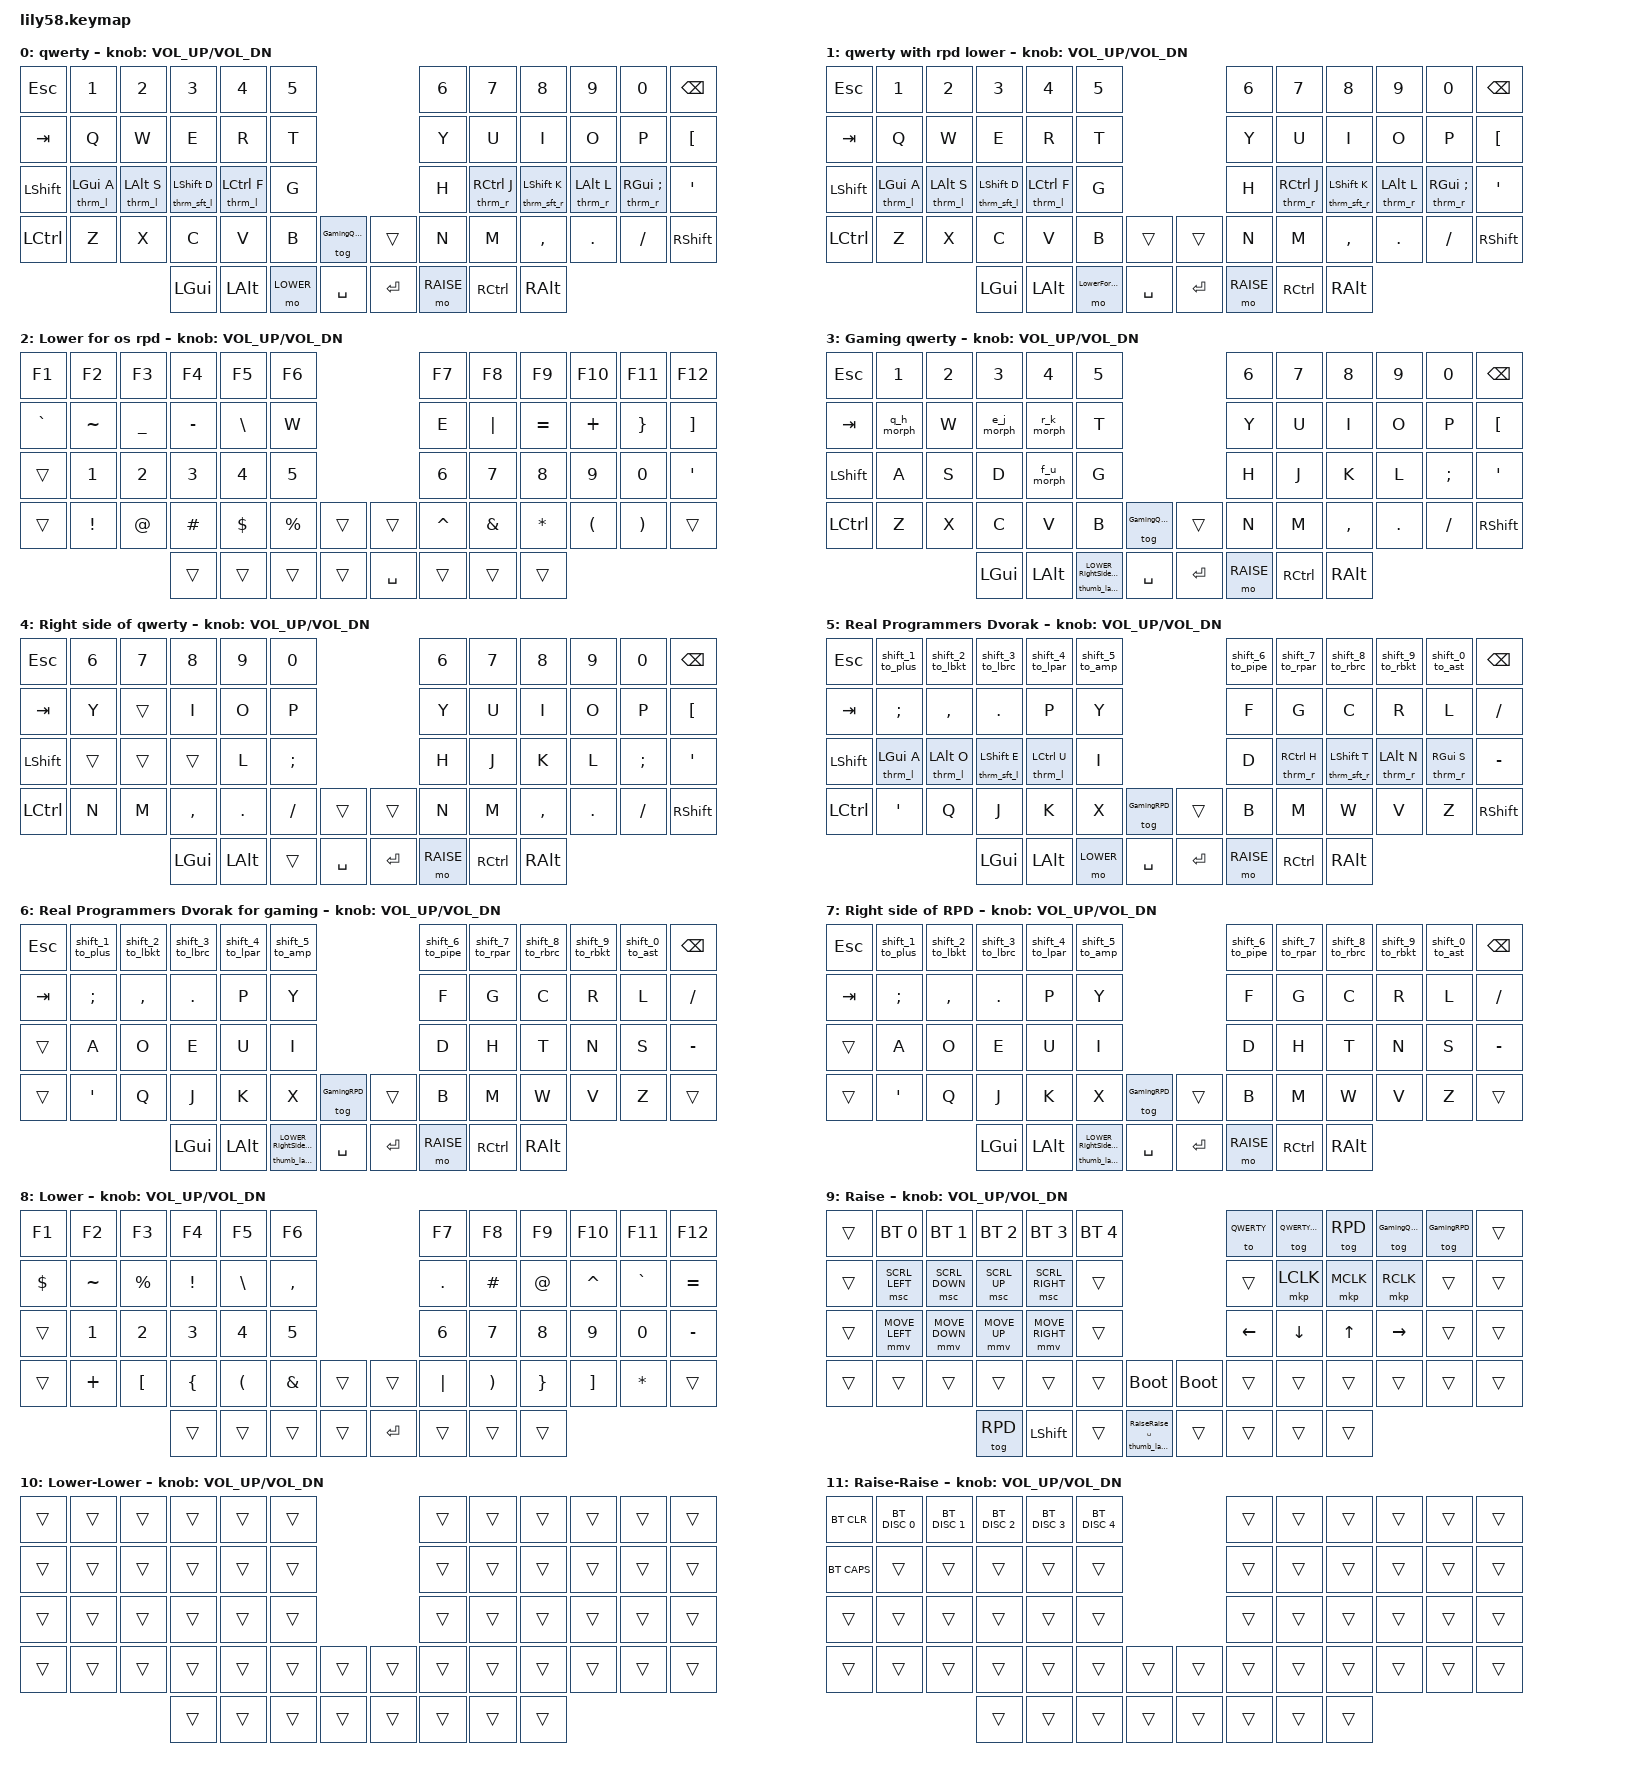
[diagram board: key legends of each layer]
#include <behaviors.dtsi>
#include <dt-bindings/zmk/bt.h>
#include <dt-bindings/zmk/keys.h>

// for mouse configuration
#define ZMK_POINTING_DEFAULT_MOVE_VAL 1250
#define ZMK_POINTING_DEFAULT_SCRL_VAL 20
#include <dt-bindings/zmk/pointing.h>

#include "zmk-helpers/helper.h"

#include "keymaps/constants.dtsi"
#include "keymaps/combos/index.dtsi"
#include "keymaps/behaviours/mod-morphs/index.dtsi"
#include "keymaps/behaviours/mod-morphs/rpd-mod-morphs.dtsi"
#include "keymaps/behaviours/tap-holds/timeless-hrm.dtsi"
#include "keymaps/behaviours/tap-holds/index.dtsi"




/*                                      58 KEY MATRIX / LAYOUT MAPPING

  ╭────────────────────────────┬────────────────────────────╮ ╭─────────────────────────────┬─────────────────────────────╮
  │  0   1   2   3   4   5     │      6   7   8   9  10  11 │ │ LT5 LT4 LT3 LT2 LT1 LT0     │     RT0 RT1 RT2 RT3 RT4 RT5 │
  │ 12  13  14  15  16  17     │     18  19  20  21  22  23 │ │ LM5 LM4 LM3 LM2 LM1 LM0     │     RM0 RM1 RM2 RM3 RM4 RM5 │
  │ 24  25  26  27  28  29     │     30  31  32  33  34  35 │ │ LB5 LB4 LB3 LB2 LB1 LB0     │     RB0 RB1 RB2 RB3 RB4 RB5 │
  │ 36  37  38  39  40  41  42 │ 43  44  45  46  47  48  49 │ │ LF5 LF4 LF3 LF2 LF1 LF0 LEC │ REC RF0 RF1 RF2 RF3 RF4 RF5 │
  ╰───────────╮ 50  51  52  53 │ 54  55  56  57 ╭───────────╯ ╰───────────╮ LH3 LH2 LH1 LH0 │ RH0 RH1 RH2 RH3 ╭───────────╯
              ╰────────────────┴────────────────╯                         ╰─────────────────┴─────────────────╯             */


&sl {
    release-after-ms = <2000>;
};

/ {
    keymap {
        compatible = "zmk,keymap";

        qwerty_layer {
            display-name = "qwerty";
            bindings = <
//    ┌──────┬────────────────┬────────────────┬────────────────────┬────────────────┬──────────┐                            ┌────────────┬────────────────┬────────────────────┬────────────────┬────────────────┬──────┐
//    │ esc  │       1        │       2        │         3          │       4        │    5     │                            │     6      │       7        │         8          │       9        │       0        │ bspc │
//    ├──────┼────────────────┼────────────────┼────────────────────┼────────────────┼──────────┤                            ├────────────┼────────────────┼────────────────────┼────────────────┼────────────────┼──────┤
//    │ tab  │       Q        │       W        │         E          │       R        │    T     │                            │     Y      │       U        │         I          │       O        │       P        │  [   │
//    ├──────┼────────────────┼────────────────┼────────────────────┼────────────────┼──────────┤                            ├────────────┼────────────────┼────────────────────┼────────────────┼────────────────┼──────┤
//    │ lsft │ &thrm_l lgui A │ &thrm_l lalt S │ &thrm_sft_l lsft D │ &thrm_l lctl F │    G     │                            │     H      │ &thrm_r rctl J │ &thrm_sft_r lsft K │ &thrm_r lalt L │ &thrm_r rgui ; │  '   │
//    ├──────┼────────────────┼────────────────┼────────────────────┼────────────────┼──────────┼──────────────────┐   ┌─────┼────────────┼────────────────┼────────────────────┼────────────────┼────────────────┼──────┤
//    │ lctl │       Z        │       X        │         C          │       V        │    B     │ tog GamingQWERTY │   │     │     N      │       M        │         ,          │       .        │       /        │ rsft │
//    └──────┴────────────────┴────────────────┼────────────────────┼────────────────┼──────────┼──────────────────┤   ├─────┼────────────┼────────────────┼────────────────────┼────────────────┴────────────────┴──────┘
//                                             │        lgui        │      lalt      │ mo LOWER │       spc        │   │ ent │ mo raltISE │      rctl      │        ralt        │
//                                             └────────────────────┴────────────────┴──────────┴──────────────────┘   └─────┴────────────┴────────────────┴────────────────────┘
  &kp ESC     &kp N1           &kp N2           &kp N3                &kp N4            &kp N5                                        &kp N6      &kp N7            &kp N8                &kp N9           &kp N0              &kp BSPC
  &kp TAB     &kp Q            &kp W            &kp E                 &kp R             &kp T                                         &kp Y       &kp U             &kp I                 &kp O            &kp P               &kp LEFT_BRACKET
  &kp LSHFT   &thrm_l LGUI A   &thrm_l LALT S   &thrm_sft_l LSHFT D   &thrm_l LCTRL F   &kp G                                         &kp H       &thrm_r RCTRL J   &thrm_sft_r LSHFT K   &thrm_r LALT L   &thrm_r RGUI SEMI   &kp SQT
  &kp LCTRL   &kp Z            &kp X            &kp C                 &kp V             &kp B       &tog GamingQWERTY       &trans    &kp N       &kp M             &kp COMMA             &kp DOT          &kp FSLH            &kp RSHFT
                                                &kp LGUI              &kp LALT          &mo LOWER   &kp SPACE               &kp RET   &mo RAISE   &kp RCTRL         &kp RALT
            >;

            sensor-bindings = <&inc_dec_kp C_VOL_UP C_VOL_DN>;
      };

        qwerty_with_rpd_lower {
            // same as qwerty but with lower_qwerty_to_rpd lower layer
            // only used with system rpd remap
            display-name = "qwerty with rpd lower";
            bindings = <
//    ┌──────┬────────────────┬────────────────┬────────────────────┬────────────────┬──────────────────┐               ┌────────────┬────────────────┬────────────────────┬────────────────┬────────────────┬──────┐
//    │ esc  │       1        │       2        │         3          │       4        │        5         │               │     6      │       7        │         8          │       9        │       0        │ bspc │
//    ├──────┼────────────────┼────────────────┼────────────────────┼────────────────┼──────────────────┤               ├────────────┼────────────────┼────────────────────┼────────────────┼────────────────┼──────┤
//    │ tab  │       Q        │       W        │         E          │       R        │        T         │               │     Y      │       U        │         I          │       O        │       P        │  [   │
//    ├──────┼────────────────┼────────────────┼────────────────────┼────────────────┼──────────────────┤               ├────────────┼────────────────┼────────────────────┼────────────────┼────────────────┼──────┤
//    │ lsft │ &thrm_l lgui A │ &thrm_l lalt S │ &thrm_sft_l lsft D │ &thrm_l lctl F │        G         │               │     H      │ &thrm_r rctl J │ &thrm_sft_r lsft K │ &thrm_r lalt L │ &thrm_r rgui ; │  '   │
//    ├──────┼────────────────┼────────────────┼────────────────────┼────────────────┼──────────────────┼─────┐   ┌─────┼────────────┼────────────────┼────────────────────┼────────────────┼────────────────┼──────┤
//    │ lctl │       Z        │       X        │         C          │       V        │        B         │     │   │     │     N      │       M        │         ,          │       .        │       /        │ rsft │
//    └──────┴────────────────┴────────────────┼────────────────────┼────────────────┼──────────────────┼─────┤   ├─────┼────────────┼────────────────┼────────────────────┼────────────────┴────────────────┴──────┘
//                                             │        lgui        │      lalt      │ mo LowerForOsRpd │ spc │   │ ent │ mo raltISE │      rctl      │        ralt        │
//                                             └────────────────────┴────────────────┴──────────────────┴─────┘   └─────┴────────────┴────────────────┴────────────────────┘
  &kp ESC     &kp N1           &kp N2           &kp N3                &kp N4            &kp N5                                        &kp N6      &kp N7            &kp N8                &kp N9           &kp N0              &kp BSPC
  &kp TAB     &kp Q            &kp W            &kp E                 &kp R             &kp T                                         &kp Y       &kp U             &kp I                 &kp O            &kp P               &kp LEFT_BRACKET
  &kp LSHFT   &thrm_l LGUI A   &thrm_l LALT S   &thrm_sft_l LSHFT D   &thrm_l LCTRL F   &kp G                                         &kp H       &thrm_r RCTRL J   &thrm_sft_r LSHFT K   &thrm_r LALT L   &thrm_r RGUI SEMI   &kp SQT
  &kp LCTRL   &kp Z            &kp X            &kp C                 &kp V             &kp B               &trans          &trans    &kp N       &kp M             &kp COMMA             &kp DOT          &kp FSLH            &kp RSHFT
                                                &kp LGUI              &kp LALT          &mo LowerForOsRpd   &kp SPACE       &kp RET   &mo RAISE   &kp RCTRL         &kp RALT
            >;

            sensor-bindings = <&inc_dec_kp C_VOL_UP C_VOL_DN>;
      };

        lower_for_os_rpd {
            // {this layer only exists to be remaped into a regular LOWER by systems rpd layout
            display-name = "Lower for os rpd";
            bindings = <
//    ┌─────┬────┬────┬─────┬─────┬─────┐               ┌─────┬─────┬─────┬─────┬─────┬─────┐
//    │ f1  │ f2 │ f3 │ f4  │ f5  │ f6  │               │ f7  │ f8  │ f9  │ f10 │ f11 │ f12 │
//    ├─────┼────┼────┼─────┼─────┼─────┤               ├─────┼─────┼─────┼─────┼─────┼─────┤
//    │  `  │ ~  │ _  │  -  │  \  │  W  │               │  E  │  |  │  =  │  +  │  }  │  ]  │
//    ├─────┼────┼────┼─────┼─────┼─────┤               ├─────┼─────┼─────┼─────┼─────┼─────┤
//    │     │ 1  │ 2  │  3  │  4  │  5  │               │  6  │  7  │  8  │  9  │  0  │  '  │
//    ├─────┼────┼────┼─────┼─────┼─────┼─────┐   ┌─────┼─────┼─────┼─────┼─────┼─────┼─────┤
//    │     │ !  │ @  │  #  │  $  │  %  │     │   │     │  ^  │  &  │  *  │  (  │  )  │     │
//    └─────┴────┴────┼─────┼─────┼─────┼─────┤   ├─────┼─────┼─────┼─────┼─────┴─────┴─────┘
//                    │     │     │     │     │   │ spc │     │     │     │
//                    └─────┴─────┴─────┴─────┘   └─────┴─────┴─────┴─────┘
  &kp F1      &kp F2      &kp F3      &kp F4      &kp F5       &kp F6                                 &kp F7      &kp F8     &kp F9      &kp F10    &kp F11    &kp F12
  &kp GRAVE   &kp TILDE   &kp UNDER   &kp MINUS   &kp BSLH     &kp W                                  &kp E       &kp PIPE   &kp EQUAL   &kp PLUS   &kp RBRC   &kp RBKT
  &trans      &kp N1      &kp N2      &kp N3      &kp N4       &kp N5                                 &kp N6      &kp N7     &kp N8      &kp N9     &kp N0     &kp SQT
  &trans      &kp EXCL    &kp AT      &kp HASH    &kp DOLLAR   &kp PERCENT   &trans       &trans      &kp CARET   &kp AMPS   &kp STAR    &kp LPAR   &kp RPAR   &trans
                                      &trans      &trans       &trans        &trans       &kp SPACE   &trans      &trans     &trans
            >;
                
            sensor-bindings = <&inc_dec_kp C_VOL_UP C_VOL_DN>;
        };

        qwerty_gaming_layer {
            display-name = "Gaming qwerty";
            bindings = <
//    ┌──────┬────────────┬───┬────────────┬────────────┬───────────────────────────────────────────┐                            ┌────────────┬──────┬──────┬───┬───┬──────┐
//    │ esc  │     1      │ 2 │     3      │     4      │                     5                     │                            │     6      │  7   │  8   │ 9 │ 0 │ bspc │
//    ├──────┼────────────┼───┼────────────┼────────────┼───────────────────────────────────────────┤                            ├────────────┼──────┼──────┼───┼───┼──────┤
//    │ tab  │ &q_h_morph │ W │ &e_j_morph │ &r_k_morph │                     T                     │                            │     Y      │  U   │  I   │ O │ P │  [   │
//    ├──────┼────────────┼───┼────────────┼────────────┼───────────────────────────────────────────┤                            ├────────────┼──────┼──────┼───┼───┼──────┤
//    │ lsft │     A      │ S │     D      │ &f_u_morph │                     G                     │                            │     H      │  J   │  K   │ L │ ; │  '   │
//    ├──────┼────────────┼───┼────────────┼────────────┼───────────────────────────────────────────┼──────────────────┐   ┌─────┼────────────┼──────┼──────┼───┼───┼──────┤
//    │ lctl │     Z      │ X │     C      │     V      │                     B                     │ tog GamingQWERTY │   │     │     N      │  M   │  ,   │ . │ / │ rsft │
//    └──────┴────────────┴───┼────────────┼────────────┼───────────────────────────────────────────┼──────────────────┤   ├─────┼────────────┼──────┼──────┼───┴───┴──────┘
//                            │    lgui    │    lalt    │ &thumb_layer_sticky LOWER RightSideQWERTY │       spc        │   │ ent │ mo raltISE │ rctl │ ralt │
//                            └────────────┴────────────┴───────────────────────────────────────────┴──────────────────┘   └─────┴────────────┴──────┴──────┘
  &kp ESC     &kp N1       &kp N2   &kp N3       &kp N4       &kp N5                                                                        &kp N6      &kp N7      &kp N8      &kp N9    &kp N0     &kp BSPC
  &kp TAB     &q_h_morph   &kp W    &e_j_morph   &r_k_morph   &kp T                                                                         &kp Y       &kp U       &kp I       &kp O     &kp P      &kp LEFT_BRACKET
  &kp LSHFT   &kp A        &kp S    &kp D        &f_u_morph   &kp G                                                                         &kp H       &kp J       &kp K       &kp L     &kp SEMI   &kp SQT
  &kp LCTRL   &kp Z        &kp X    &kp C        &kp V        &kp B                                       &tog GamingQWERTY       &trans    &kp N       &kp M       &kp COMMA   &kp DOT   &kp FSLH   &kp RSHFT
                                    &kp LGUI     &kp LALT     &thumb_layer_sticky LOWER RightSideQWERTY   &kp SPACE               &kp RET   &mo RAISE   &kp RCTRL   &kp RALT
            >;

            sensor-bindings = <&inc_dec_kp C_VOL_UP C_VOL_DN>;
      };

        right_side_qwerty {
            display-name = "Right side of qwerty";
            bindings = <
//    ┌──────┬─────┬─────┬──────┬──────┬─────┐               ┌────────────┬──────┬──────┬───┬───┬──────┐
//    │ esc  │  6  │  7  │  8   │  9   │  0  │               │     6      │  7   │  8   │ 9 │ 0 │ bspc │
//    ├──────┼─────┼─────┼──────┼──────┼─────┤               ├────────────┼──────┼──────┼───┼───┼──────┤
//    │ tab  │  Y  │     │  I   │  O   │  P  │               │     Y      │  U   │  I   │ O │ P │  [   │
//    ├──────┼─────┼─────┼──────┼──────┼─────┤               ├────────────┼──────┼──────┼───┼───┼──────┤
//    │ lsft │     │     │      │  L   │  ;  │               │     H      │  J   │  K   │ L │ ; │  '   │
//    ├──────┼─────┼─────┼──────┼──────┼─────┼─────┐   ┌─────┼────────────┼──────┼──────┼───┼───┼──────┤
//    │ lctl │  N  │  M  │  ,   │  .   │  /  │     │   │     │     N      │  M   │  ,   │ . │ / │ rsft │
//    └──────┴─────┴─────┼──────┼──────┼─────┼─────┤   ├─────┼────────────┼──────┼──────┼───┴───┴──────┘
//                       │ lgui │ lalt │     │ spc │   │ ent │ mo raltISE │ rctl │ ralt │
//                       └──────┴──────┴─────┴─────┘   └─────┴────────────┴──────┴──────┘
  &kp ESC     &kp N6   &kp N7   &kp N8      &kp N9       &kp N0                               &kp N6      &kp N7      &kp N8      &kp N9    &kp N0     &kp BSPC
  &kp TAB     &kp Y    &trans   &kp I       &kp O        &kp P                                &kp Y       &kp U       &kp I       &kp O     &kp P      &kp LEFT_BRACKET
  &kp LSHFT   &trans   &trans   &trans      &kp L        &kp SEMI                             &kp H       &kp J       &kp K       &kp L     &kp SEMI   &kp SQT
  &kp LCTRL   &kp N    &kp M    &kp COMMA   &kp PERIOD   &kp FSLH   &trans          &trans    &kp N       &kp M       &kp COMMA   &kp DOT   &kp FSLH   &kp RSHFT
                                &kp LGUI    &kp LALT     &trans     &kp SPACE       &kp RET   &mo RAISE   &kp RCTRL   &kp RALT
            >;

            sensor-bindings = <&inc_dec_kp C_VOL_UP C_VOL_DN>;
      };

        rpd_layer {
            display-name = "Real Programmers Dvorak";
            bindings = <
//    ┌──────┬──────────────────┬──────────────────┬────────────────────┬──────────────────┬─────────────────┐                         ┌──────────────────┬──────────────────┬────────────────────┬──────────────────┬─────────────────┬──────┐
//    │ esc  │ &shift_1_to_plus │ &shift_2_to_lbkt │  &shift_3_to_lbrc  │ &shift_4_to_lpar │ &shift_5_to_amp │                         │ &shift_6_to_pipe │ &shift_7_to_rpar │  &shift_8_to_rbrc  │ &shift_9_to_rbkt │ &shift_0_to_ast │ bspc │
//    ├──────┼──────────────────┼──────────────────┼────────────────────┼──────────────────┼─────────────────┤                         ├──────────────────┼──────────────────┼────────────────────┼──────────────────┼─────────────────┼──────┤
//    │ tab  │        ;         │        ,         │         .          │        P         │        Y        │                         │        F         │        G         │         C          │        R         │        L        │  /   │
//    ├──────┼──────────────────┼──────────────────┼────────────────────┼──────────────────┼─────────────────┤                         ├──────────────────┼──────────────────┼────────────────────┼──────────────────┼─────────────────┼──────┤
//    │ lsft │  &thrm_l lgui A  │  &thrm_l lalt O  │ &thrm_sft_l lsft E │  &thrm_l lctl U  │        I        │                         │        D         │  &thrm_r rctl H  │ &thrm_sft_r lsft T │  &thrm_r lalt N  │ &thrm_r rgui S  │  -   │
//    ├──────┼──────────────────┼──────────────────┼────────────────────┼──────────────────┼─────────────────┼───────────────┐   ┌─────┼──────────────────┼──────────────────┼────────────────────┼──────────────────┼─────────────────┼──────┤
//    │ lctl │        '         │        Q         │         J          │        K         │        X        │ tog GamingRPD │   │     │        B         │        M         │         W          │        V         │        Z        │ rsft │
//    └──────┴──────────────────┴──────────────────┼────────────────────┼──────────────────┼─────────────────┼───────────────┤   ├─────┼──────────────────┼──────────────────┼────────────────────┼──────────────────┴─────────────────┴──────┘
//                                                 │        lgui        │       lalt       │    mo LOWER     │      spc      │   │ ent │    mo raltISE    │       rctl       │        ralt        │
//                                                 └────────────────────┴──────────────────┴─────────────────┴───────────────┘   └─────┴──────────────────┴──────────────────┴────────────────────┘
  &kp ESC     &shift_1_to_plus   &shift_2_to_lbkt   &shift_3_to_lbrc      &shift_4_to_lpar   &shift_5_to_amp                                  &shift_6_to_pipe   &shift_7_to_rpar   &shift_8_to_rbrc      &shift_9_to_rbkt   &shift_0_to_ast   &kp BSPC
  &kp TAB     &kp SEMICOLON      &kp COMMA          &kp PERIOD            &kp P              &kp Y                                            &kp F              &kp G              &kp C                 &kp R              &kp L             &kp SLASH
  &kp LSHFT   &thrm_l LGUI A     &thrm_l LALT O     &thrm_sft_l LSHFT E   &thrm_l LCTRL U    &kp I                                            &kp D              &thrm_r RCTRL H    &thrm_sft_r LSHFT T   &thrm_r LALT N     &thrm_r RGUI S    &kp MINUS
  &kp LCTRL   &kp SQT            &kp Q              &kp J                 &kp K              &kp X             &tog GamingRPD       &trans    &kp B              &kp M              &kp W                 &kp V              &kp Z             &kp RSHFT
                                                    &kp LGUI              &kp LALT           &mo LOWER         &kp SPACE            &kp RET   &mo RAISE          &kp RCTRL          &kp RALT
            >;

            sensor-bindings = <&inc_dec_kp C_VOL_UP C_VOL_DN>;
        };

        rpd_gaming_layer {
            display-name = "Real Programmers Dvorak for gaming";
            bindings = <
//    ┌─────┬──────────────────┬──────────────────┬──────────────────┬──────────────────┬────────────────────────────────────────┐                         ┌──────────────────┬──────────────────┬──────────────────┬──────────────────┬─────────────────┬──────┐
//    │ esc │ &shift_1_to_plus │ &shift_2_to_lbkt │ &shift_3_to_lbrc │ &shift_4_to_lpar │            &shift_5_to_amp             │                         │ &shift_6_to_pipe │ &shift_7_to_rpar │ &shift_8_to_rbrc │ &shift_9_to_rbkt │ &shift_0_to_ast │ bspc │
//    ├─────┼──────────────────┼──────────────────┼──────────────────┼──────────────────┼────────────────────────────────────────┤                         ├──────────────────┼──────────────────┼──────────────────┼──────────────────┼─────────────────┼──────┤
//    │ tab │        ;         │        ,         │        .         │        P         │                   Y                    │                         │        F         │        G         │        C         │        R         │        L        │  /   │
//    ├─────┼──────────────────┼──────────────────┼──────────────────┼──────────────────┼────────────────────────────────────────┤                         ├──────────────────┼──────────────────┼──────────────────┼──────────────────┼─────────────────┼──────┤
//    │     │        A         │        O         │        E         │        U         │                   I                    │                         │        D         │        H         │        T         │        N         │        S        │  -   │
//    ├─────┼──────────────────┼──────────────────┼──────────────────┼──────────────────┼────────────────────────────────────────┼───────────────┐   ┌─────┼──────────────────┼──────────────────┼──────────────────┼──────────────────┼─────────────────┼──────┤
//    │     │        '         │        Q         │        J         │        K         │                   X                    │ tog GamingRPD │   │     │        B         │        M         │        W         │        V         │        Z        │      │
//    └─────┴──────────────────┴──────────────────┼──────────────────┼──────────────────┼────────────────────────────────────────┼───────────────┤   ├─────┼──────────────────┼──────────────────┼──────────────────┼──────────────────┴─────────────────┴──────┘
//                                                │       lgui       │       lalt       │ &thumb_layer_sticky LOWER RightSideRPD │      spc      │   │ ent │    mo raltISE    │       rctl       │       ralt       │
//                                                └──────────────────┴──────────────────┴────────────────────────────────────────┴───────────────┘   └─────┴──────────────────┴──────────────────┴──────────────────┘
  &kp ESC   &shift_1_to_plus   &shift_2_to_lbkt   &shift_3_to_lbrc   &shift_4_to_lpar   &shift_5_to_amp                                                         &shift_6_to_pipe   &shift_7_to_rpar   &shift_8_to_rbrc   &shift_9_to_rbkt   &shift_0_to_ast   &kp BSPC
  &kp TAB   &kp SEMICOLON      &kp COMMA          &kp PERIOD         &kp P              &kp Y                                                                   &kp F              &kp G              &kp C              &kp R              &kp L             &kp SLASH
  &trans    &kp A              &kp O              &kp E              &kp U              &kp I                                                                   &kp D              &kp H              &kp T              &kp N              &kp S             &kp MINUS
  &trans    &kp SQT            &kp Q              &kp J              &kp K              &kp X                                    &tog GamingRPD       &trans    &kp B              &kp M              &kp W              &kp V              &kp Z             &trans
                                                  &kp LGUI           &kp LALT           &thumb_layer_sticky LOWER RightSideRPD   &kp SPACE            &kp RET   &mo RAISE          &kp RCTRL          &kp RALT
            >;

            sensor-bindings = <&inc_dec_kp C_VOL_UP C_VOL_DN>;
        };

        right_side_rpd {
            display-name = "Right side of RPD";
            bindings = <
//    ┌─────┬──────────────────┬──────────────────┬──────────────────┬──────────────────┬─────────────────────────────────────┐                         ┌──────────────────┬──────────────────┬──────────────────┬──────────────────┬─────────────────┬──────┐
//    │ esc │ &shift_1_to_plus │ &shift_2_to_lbkt │ &shift_3_to_lbrc │ &shift_4_to_lpar │           &shift_5_to_amp           │                         │ &shift_6_to_pipe │ &shift_7_to_rpar │ &shift_8_to_rbrc │ &shift_9_to_rbkt │ &shift_0_to_ast │ bspc │
//    ├─────┼──────────────────┼──────────────────┼──────────────────┼──────────────────┼─────────────────────────────────────┤                         ├──────────────────┼──────────────────┼──────────────────┼──────────────────┼─────────────────┼──────┤
//    │ tab │        ;         │        ,         │        .         │        P         │                  Y                  │                         │        F         │        G         │        C         │        R         │        L        │  /   │
//    ├─────┼──────────────────┼──────────────────┼──────────────────┼──────────────────┼─────────────────────────────────────┤                         ├──────────────────┼──────────────────┼──────────────────┼──────────────────┼─────────────────┼──────┤
//    │     │        A         │        O         │        E         │        U         │                  I                  │                         │        D         │        H         │        T         │        N         │        S        │  -   │
//    ├─────┼──────────────────┼──────────────────┼──────────────────┼──────────────────┼─────────────────────────────────────┼───────────────┐   ┌─────┼──────────────────┼──────────────────┼──────────────────┼──────────────────┼─────────────────┼──────┤
//    │     │        '         │        Q         │        J         │        K         │                  X                  │ tog GamingRPD │   │     │        B         │        M         │        W         │        V         │        Z        │      │
//    └─────┴──────────────────┴──────────────────┼──────────────────┼──────────────────┼─────────────────────────────────────┼───────────────┤   ├─────┼──────────────────┼──────────────────┼──────────────────┼──────────────────┴─────────────────┴──────┘
//                                                │       lgui       │       lalt       │ &thumb_layer_tog LOWER RightSideRPD │      spc      │   │ ent │    mo raltISE    │       rctl       │       ralt       │
//                                                └──────────────────┴──────────────────┴─────────────────────────────────────┴───────────────┘   └─────┴──────────────────┴──────────────────┴──────────────────┘
  &kp ESC   &shift_1_to_plus   &shift_2_to_lbkt   &shift_3_to_lbrc   &shift_4_to_lpar   &shift_5_to_amp                                                      &shift_6_to_pipe   &shift_7_to_rpar   &shift_8_to_rbrc   &shift_9_to_rbkt   &shift_0_to_ast   &kp BSPC
  &kp TAB   &kp SEMICOLON      &kp COMMA          &kp PERIOD         &kp P              &kp Y                                                                &kp F              &kp G              &kp C              &kp R              &kp L             &kp SLASH
  &trans    &kp A              &kp O              &kp E              &kp U              &kp I                                                                &kp D              &kp H              &kp T              &kp N              &kp S             &kp MINUS
  &trans    &kp SQT            &kp Q              &kp J              &kp K              &kp X                                 &tog GamingRPD       &trans    &kp B              &kp M              &kp W              &kp V              &kp Z             &trans
                                                  &kp LGUI           &kp LALT           &thumb_layer_tog LOWER RightSideRPD   &kp SPACE            &kp RET   &mo RAISE          &kp RCTRL          &kp RALT
            >;

            sensor-bindings = <&inc_dec_kp C_VOL_UP C_VOL_DN>;
        };

        lower_layer {
            display-name = "Lower";
            bindings = <
//    ┌─────┬────┬────┬─────┬─────┬─────┐               ┌─────┬─────┬─────┬─────┬─────┬─────┐
//    │ f1  │ f2 │ f3 │ f4  │ f5  │ f6  │               │ f7  │ f8  │ f9  │ f10 │ f11 │ f12 │
//    ├─────┼────┼────┼─────┼─────┼─────┤               ├─────┼─────┼─────┼─────┼─────┼─────┤
//    │  $  │ ~  │ %  │  !  │  \  │  ,  │               │  .  │  #  │  @  │  ^  │  `  │  =  │
//    ├─────┼────┼────┼─────┼─────┼─────┤               ├─────┼─────┼─────┼─────┼─────┼─────┤
//    │     │ 1  │ 2  │  3  │  4  │  5  │               │  6  │  7  │  8  │  9  │  0  │  -  │
//    ├─────┼────┼────┼─────┼─────┼─────┼─────┐   ┌─────┼─────┼─────┼─────┼─────┼─────┼─────┤
//    │     │ +  │ [  │  {  │  (  │  &  │     │   │     │  |  │  )  │  }  │  ]  │  *  │     │
//    └─────┴────┴────┼─────┼─────┼─────┼─────┤   ├─────┼─────┼─────┼─────┼─────┴─────┴─────┘
//                    │     │     │     │     │   │ ent │     │     │     │
//                    └─────┴─────┴─────┴─────┘   └─────┴─────┴─────┴─────┘
  &kp F1       &kp F2      &kp F3        &kp F4     &kp F5     &kp F6                             &kp F7       &kp F8     &kp F9     &kp F10     &kp F11     &kp F12
  &kp DOLLAR   &kp TILDE   &kp PERCENT   &kp EXCL   &kp BSLH   &kp COMMA                          &kp PERIOD   &kp HASH   &kp AT     &kp CARET   &kp GRAVE   &kp EQUAL
  &trans       &kp N1      &kp N2        &kp N3     &kp N4     &kp N5                             &kp N6       &kp N7     &kp N8     &kp N9      &kp N0      &kp MINUS
  &trans       &kp PLUS    &kp LBKT      &kp LBRC   &kp LPAR   &kp AMPS    &trans       &trans    &kp PIPE     &kp RPAR   &kp RBRC   &kp RBKT    &kp STAR    &trans
                                         &trans     &trans     &trans      &trans       &kp RET   &trans       &trans     &trans
            >;

            sensor-bindings = <&inc_dec_kp C_VOL_UP C_VOL_DN>;
        };

        raise_layer {
            display-name = "Raise";
            bindings = <
//    ┌─────┬────────────────┬────────────────┬──────────────┬────────────────┬──────────┐                                            ┌───────────┬────────────────────────┬─────────┬──────────────────┬───────────────┬─────┐
//    │     │    bt_sel 0    │    bt_sel 1    │   bt_sel 2   │    bt_sel 3    │ bt_sel 4 │                                            │ to QWERTY │ tog QWERTYWithRpdLower │ tog RPD │ tog GamingQWERTY │ tog GamingRPD │     │
//    ├─────┼────────────────┼────────────────┼──────────────┼────────────────┼──────────┤                                            ├───────────┼────────────────────────┼─────────┼──────────────────┼───────────────┼─────┤
//    │     │ &msc SCRL_left │ &msc SCRL_down │ &msc SCRL_up │ &msc SCRL_rght │          │                                            │           │          lclk          │  mclk   │       rclk       │               │     │
//    ├─────┼────────────────┼────────────────┼──────────────┼────────────────┼──────────┤                                            ├───────────┼────────────────────────┼─────────┼──────────────────┼───────────────┼─────┤
//    │     │ &mmv MOVE_left │ &mmv MOVE_down │ &mmv MOVE_up │ &mmv MOVE_rght │          │                                            │   left    │          down          │   up    │       rght       │               │     │
//    ├─────┼────────────────┼────────────────┼──────────────┼────────────────┼──────────┼─────────────────────────────────┐   ┌──────┼───────────┼────────────────────────┼─────────┼──────────────────┼───────────────┼─────┤
//    │     │                │                │              │                │          │              boot               │   │ boot │           │                        │         │                  │               │     │
//    └─────┴────────────────┴────────────────┼──────────────┼────────────────┼──────────┼─────────────────────────────────┤   ├──────┼───────────┼────────────────────────┼─────────┼──────────────────┴───────────────┴─────┘
//                                            │   tog RPD    │      lsft      │          │ &thumb_layer_tap RaiseRaise spc │   │      │           │                        │         │
//                                            └──────────────┴────────────────┴──────────┴─────────────────────────────────┘   └──────┴───────────┴────────────────────────┴─────────┘
  &trans   &bt BT_SEL 0     &bt BT_SEL 1     &bt BT_SEL 2   &bt BT_SEL 3      &bt BT_SEL 4                                                         &to QWERTY   &tog QWERTYWithRpdLower   &tog RPD    &tog GamingQWERTY   &tog GamingRPD   &trans
  &trans   &msc SCRL_LEFT   &msc SCRL_DOWN   &msc SCRL_UP   &msc SCRL_RIGHT   &trans                                                               &trans       &mkp LCLK                 &mkp MCLK   &mkp RCLK           &trans           &trans
  &trans   &mmv MOVE_LEFT   &mmv MOVE_DOWN   &mmv MOVE_UP   &mmv MOVE_RIGHT   &trans                                                               &kp LEFT     &kp DOWN                  &kp UP      &kp RIGHT           &trans           &trans
  &trans   &trans           &trans           &trans         &trans            &trans         &bootloader                             &bootloader   &trans       &trans                    &trans      &trans              &trans           &trans
                                             &tog RPD       &kp LSHFT         &trans         &thumb_layer_tap RaiseRaise SPACE       &trans        &trans       &trans                    &trans
            >;

            sensor-bindings = <&inc_dec_kp C_VOL_UP C_VOL_DN>;
        };

        lower_lower_layer {
            display-name = "Lower-Lower";
            bindings = <
//    ┌─────┬─────┬─────┬─────┬─────┬─────┐               ┌─────┬─────┬─────┬─────┬─────┬─────┐
//    │     │     │     │     │     │     │               │     │     │     │     │     │     │
//    ├─────┼─────┼─────┼─────┼─────┼─────┤               ├─────┼─────┼─────┼─────┼─────┼─────┤
//    │     │     │     │     │     │     │               │     │     │     │     │     │     │
//    ├─────┼─────┼─────┼─────┼─────┼─────┤               ├─────┼─────┼─────┼─────┼─────┼─────┤
//    │     │     │     │     │     │     │               │     │     │     │     │     │     │
//    ├─────┼─────┼─────┼─────┼─────┼─────┼─────┐   ┌─────┼─────┼─────┼─────┼─────┼─────┼─────┤
//    │     │     │     │     │     │     │     │   │     │     │     │     │     │     │     │
//    └─────┴─────┴─────┼─────┼─────┼─────┼─────┤   ├─────┼─────┼─────┼─────┼─────┴─────┴─────┘
//                      │     │     │     │     │   │     │     │     │     │
//                      └─────┴─────┴─────┴─────┘   └─────┴─────┴─────┴─────┘
  &trans   &trans   &trans   &trans   &trans   &trans                         &trans   &trans   &trans   &trans   &trans   &trans
  &trans   &trans   &trans   &trans   &trans   &trans                         &trans   &trans   &trans   &trans   &trans   &trans
  &trans   &trans   &trans   &trans   &trans   &trans                         &trans   &trans   &trans   &trans   &trans   &trans
  &trans   &trans   &trans   &trans   &trans   &trans   &trans       &trans   &trans   &trans   &trans   &trans   &trans   &trans
                             &trans   &trans   &trans   &trans       &trans   &trans   &trans   &trans
            >;

            sensor-bindings = <&inc_dec_kp C_VOL_UP C_VOL_DN>;
        };

        raise_raise_layer {
            display-name = "Raise-Raise";
            bindings = <
//    ┌─────────┬──────────────┬──────────────┬──────────────┬──────────────┬──────────────┐               ┌─────┬─────┬─────┬─────┬─────┬─────┐
//    │ bt_clr  │ bt_BT_DISC 0 │ bt_BT_DISC 1 │ bt_BT_DISC 2 │ bt_BT_DISC 3 │ bt_BT_DISC 4 │               │     │     │     │     │     │     │
//    ├─────────┼──────────────┼──────────────┼──────────────┼──────────────┼──────────────┤               ├─────┼─────┼─────┼─────┼─────┼─────┤
//    │ bt_caps │              │              │              │              │              │               │     │     │     │     │     │     │
//    ├─────────┼──────────────┼──────────────┼──────────────┼──────────────┼──────────────┤               ├─────┼─────┼─────┼─────┼─────┼─────┤
//    │         │              │              │              │              │              │               │     │     │     │     │     │     │
//    ├─────────┼──────────────┼──────────────┼──────────────┼──────────────┼──────────────┼─────┐   ┌─────┼─────┼─────┼─────┼─────┼─────┼─────┤
//    │         │              │              │              │              │              │     │   │     │     │     │     │     │     │     │
//    └─────────┴──────────────┴──────────────┼──────────────┼──────────────┼──────────────┼─────┤   ├─────┼─────┼─────┼─────┼─────┴─────┴─────┘
//                                            │              │              │              │     │   │     │     │     │     │
//                                            └──────────────┴──────────────┴──────────────┴─────┘   └─────┴─────┴─────┴─────┘
  &bt BT_CLR   &bt BT_DISC 0   &bt BT_DISC 1   &bt BT_DISC 2   &bt BT_DISC 3   &bt BT_DISC 4                         &trans   &trans   &trans   &trans   &trans   &trans
  &bt CAPS     &trans          &trans          &trans          &trans          &trans                                &trans   &trans   &trans   &trans   &trans   &trans
  &trans       &trans          &trans          &trans          &trans          &trans                                &trans   &trans   &trans   &trans   &trans   &trans
  &trans       &trans          &trans          &trans          &trans          &trans          &trans       &trans   &trans   &trans   &trans   &trans   &trans   &trans
                                               &trans          &trans          &trans          &trans       &trans   &trans   &trans   &trans
            >;

            sensor-bindings = <&inc_dec_kp C_VOL_UP C_VOL_DN>;
        };

        extra_3 { status = "reserved"; };
    };
};
